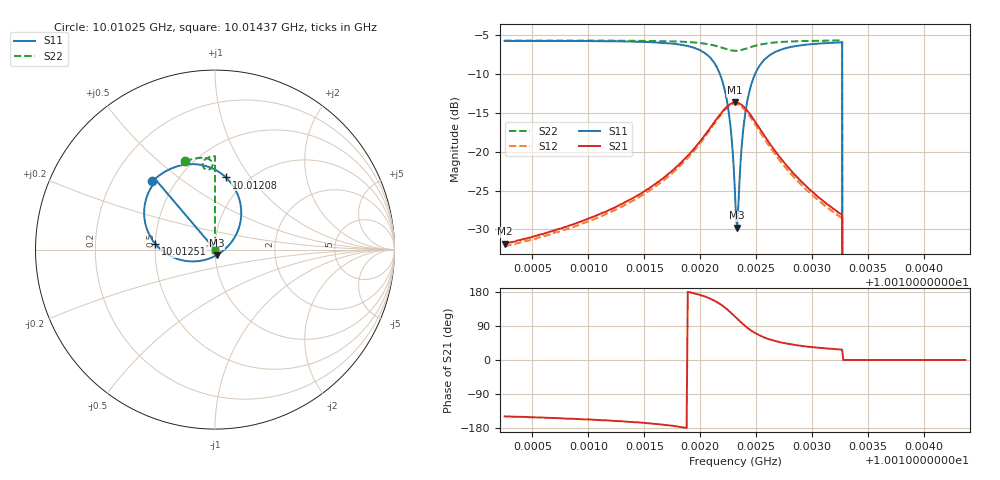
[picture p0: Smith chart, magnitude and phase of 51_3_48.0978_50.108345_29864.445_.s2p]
#  HZ  S  RI  R  50.00
! Rohde & Schwarz Vector Network Analyzer
! Rohde-Schwarz,ZNB20-2Port,1311601062101988,3.16
! Created: UTC 12/23/2023, 3:39:46 AM
! freq[Hz]  re:S11  im:S11  re:S21  im:S21  re:S12  im:S12  re:S22  im:S22
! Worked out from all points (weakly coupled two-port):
!   401 points, 10.01025 GHz to 10.01437 GHz, reference 50 ohm
!   highest |S21| = -13.66 dB at 10.01231 GHz (marker M1); lowest = -31.8 dB at 10.01025 GHz (marker M2)
!   lowest |S11| = -29.8 dB at 10.01233 GHz (marker M3), VSWR 1.07, Z = 50.8 - j3.17 ohm
!   |S11| at or under -10 dB: 10.01218 GHz to 10.01249 GHz (314.1 kHz wide, 0.00314 % of centre); 10.01327 GHz to end of sweep
!   |S22| runs from - to -5.7 dB; largest |S21 - S12| = 0.0094
!   S11 on the Smith chart (normalised r, x): 10.01025 GHz: 0.37, +0.39; 10.01208 GHz: 0.80, +0.77; 10.01251 GHz: 0.50, +0.04; 10.01437 GHz: 1.00, +0.00
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1.0010251e10  -0.3503 0.3805  -0.0218 -0.0133  -0.0205 -0.0137  -0.1655 0.492
1.0010941e10  -0.2939 0.4246  -0.0328 -0.0142  -0.0308 -0.0154  -0.1201 0.5054
1.0011631e10  -0.1818 0.471  -0.0633 -0.0119  -0.0604 -0.0144  -0.067 0.5119
1.0011929e10  -0.0574 0.4674  -0.1014 0.00507  -0.0987 -0.000383  -0.0365 0.5054
1.0012084e10  0.0611 0.4019  -0.1345 0.0422  -0.1329 0.0337  -0.0188 0.4906
1.0012166e10  0.1278 0.303  -0.1466 0.0858  -0.1476 0.0765  -0.0137 0.4743
1.0012228e10  0.1454 0.1809  -0.1395 0.1319  -0.1422 0.1236  -0.0173 0.459
1.0012269e10  0.1192 0.0863  -0.1192 0.1642  -0.1228 0.1565  -0.0257 0.4499
1.001229e10  0.0914 0.0409  -0.1039 0.1781  -0.1082 0.1705  -0.0314 0.4469
1.001231e10  0.0541 0.000939  -0.0859 0.189  -0.0908 0.1816  -0.0376 0.4455
1.0012331e10  0.00877 -0.0312  -0.0662 0.1958  -0.0705 0.1892  -0.0441 0.4452
1.0012341e10  -0.0157 -0.0433  -0.0562 0.198  -0.06 0.1915  -0.0475 0.4458
1.0012382e10  -0.1184 -0.0659  -0.0158 0.1961  -0.0208 0.1898  -0.0587 0.4515
1.0012403e10  -0.1673 -0.0626  0.00219 0.1902  -0.00324 0.184  -0.0629 0.4558
1.0012444e10  -0.2506 -0.0347  0.0307 0.172  0.0251 0.1665  -0.0679 0.4658
1.0012506e10  -0.3331 0.0326  0.0546 0.1398  0.0482 0.1356  -0.0686 0.4797
1.001267e10  -0.3947 0.1929  0.0645 0.0772  0.0589 0.0756  -0.0545 0.503
1.0013e10  -0.3616 0.3363  0.0458 0.031  0.0421 0.0314  -0.0222 0.5175
1.0013247e10  -0.3303 0.3831  0.0354 0.0188  0.0328 0.0193  -0.00167 0.5208
1.0013298e10  0 0  0 0  0 0  0 0
1.001369e10  0 0  0 0  0 0  0 0
1.0014369e10  0 0  0 0  0 0  0 0
